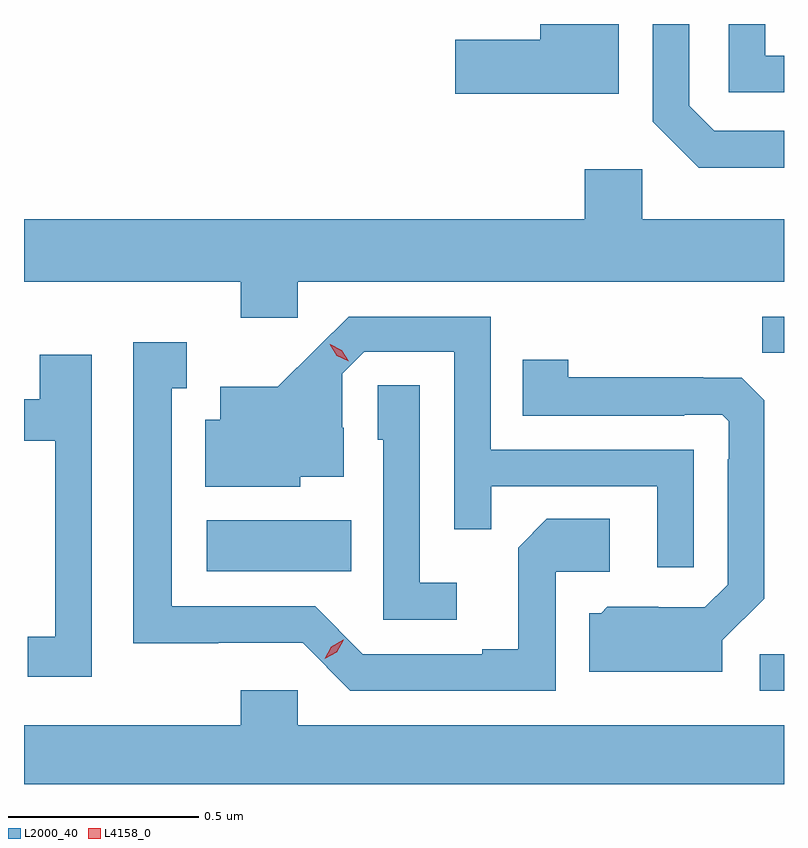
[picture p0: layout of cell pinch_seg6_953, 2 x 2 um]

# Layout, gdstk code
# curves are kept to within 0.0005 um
import gdstk
lib = gdstk.Library(unit=1e-6, precision=1e-09)
def R(c, l, rs):  # rectangles x0, y0, x1, y1
    for r in rs: c.add(gdstk.rectangle(r[:2], r[2:], *l))
def P(c, l, *ps):  # polygons
    for p in ps: c.add(gdstk.Polygon(p, *l))
L2000_40 = (2000, 40)
L4158_0 = (4158, 0)

pinch_seg6_953 = lib.new_cell('pinch_seg6_953')
R(pinch_seg6_953, L2000_40, [(159.477,923.616,159.541,923.712), (158.022,923.93,158.402,924.064), (159.484,924.505,159.541,924.6)])
P(pinch_seg6_953, L2000_40, [(159.541,925.287),(159.492,925.287),(159.492,925.37),(159.396,925.37),(159.396,925.191),(159.541,925.191)],
  [(159.541,925.089),(159.357,925.089),(159.291,925.155),(159.291,925.37),(159.195,925.37),(159.195,925.113),(159.316,924.992),(159.541,924.992)],
  [(159.106,925.37),(158.899,925.37),(158.899,925.328),(158.676,925.328),(158.676,925.186),(159.106,925.186)],
  [(158.262,924.692),(159.541,924.692),(159.541,924.856),(159.168,924.856),(159.168,924.988),(159.017,924.988),(159.017,924.856),(157.541,924.856),(157.541,924.692),(158.111,924.692),(158.111,924.597),(158.262,924.597)],
  [(159.303,924.249),(158.769,924.249),(158.769,924.6),(158.396,924.6),(158.209,924.415),(158.057,924.415),(158.057,924.328),(158.018,924.328),(158.018,924.152),(158.268,924.152),(158.268,924.179),(158.383,924.179),(158.383,924.308),(158.379,924.308),(158.379,924.45),(158.436,924.507),(158.673,924.507),(158.673,924.04),(158.771,924.04),(158.771,924.153),(159.207,924.153),(159.207,923.94),(159.303,923.94)],
  [(158.94,923.928),(159.082,923.928),(159.082,924.068),(158.917,924.068),(158.841,923.992),(158.841,923.725),(158.747,923.725),(158.747,923.712),(158.433,923.712),(158.307,923.838),(157.93,923.838),(157.93,924.411),(157.969,924.411),(157.969,924.532),(157.829,924.532),(157.829,923.741),(158.052,923.741),(158.052,923.742),(158.274,923.742),(158.4,923.616),(158.94,923.616)],
  [(157.719,924.499),(157.583,924.499),(157.583,924.382),(157.541,924.382),(157.541,924.273),(157.623,924.273),(157.623,923.757),(157.551,923.757),(157.551,923.652),(157.719,923.652)],
  [(159.379,923.748),(159.489,923.858),(159.489,924.38),(159.43,924.439),(159.329,924.439),(159.329,924.44),(158.973,924.44),(158.973,924.487),(158.854,924.487),(158.854,924.339),(159.278,924.339),(159.278,924.342),(159.378,924.342),(159.396,924.324),(159.396,924.224),(159.393,924.224),(159.393,923.895),(159.333,923.835),(159.21,923.835),(159.21,923.836),(159.076,923.836),(159.06,923.82),(159.029,923.82),(159.029,923.666),(159.379,923.666)],
  [(158.68,923.899),(158.583,923.899),(158.583,924.419),(158.472,924.419),(158.472,924.276),(158.487,924.276),(158.487,923.802),(158.68,923.802)],
  [(159.541,923.524),(158.262,923.524),(158.262,923.617),(158.111,923.617),(158.111,923.524),(157.541,923.524),(157.541,923.37),(159.541,923.37)])
P(pinch_seg6_953, L4158_0, [(158.332,923.699),(158.332,923.699),(158.35,923.731),(158.381,923.75),(158.382,923.75),(158.382,923.75),(158.364,923.717),(158.333,923.699)],
  [(158.395,924.482),(158.364,924.497),(158.346,924.527),(158.346,924.527),(158.347,924.527),(158.377,924.512),(158.395,924.483),(158.395,924.482)])

lib.write_gds('pinch_seg6_953.gds')
